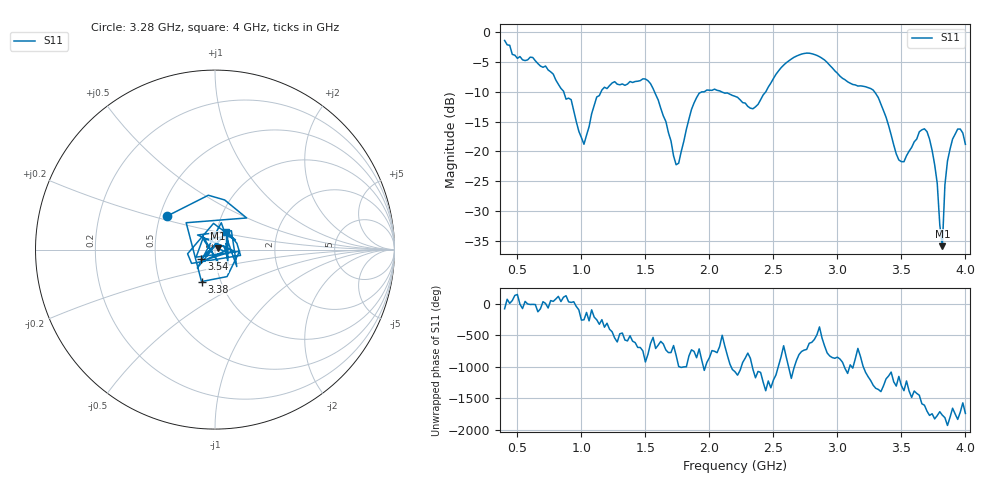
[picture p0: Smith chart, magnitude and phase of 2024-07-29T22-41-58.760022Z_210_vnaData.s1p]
!Created with skrf (http://scikit-rf.org).
# Hz S RI R 50.0
!freq ReS11 ImS11
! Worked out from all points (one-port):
!   181 points, 400 MHz to 4 GHz, reference 50 ohm
!   lowest |S11| = -35.9 dB at 3.82 GHz (marker M1), VSWR 1.03, Z = 51.4 + j0.792 ohm
!   |S11| at or under -10 dB: 1.571 GHz to 1.961 GHz (390 MHz wide, 22.1 % of centre); 2.094 GHz to 2.441 GHz (347 MHz wide, 15.3 % of centre); 3.289 GHz to end of sweep (the widest 3 of 4)
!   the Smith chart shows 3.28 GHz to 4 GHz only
!   S11 on the Smith chart (normalised r, x): 3.28 GHz: 0.54, +0.23; 3.38 GHz: 0.81, -0.30; 3.54 GHz: 0.86, -0.09; 4 GHz: 1.11, +0.22
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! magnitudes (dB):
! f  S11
! 400 MHz  -1.4
! 860 MHz  -9.9
! 920 MHz  -11.3
! 1.02 GHz  -18.8
! 1.12 GHz  -10.9
! 1.3 GHz  -8.8
! 1.54 GHz  -8.6
! 1.76 GHz  -22.0
! 1.86 GHz  -13.0
! 1.92 GHz  -10.3
! 2.2 GHz  -10.8
! 2.34 GHz  -12.9
! 2.66 GHz  -4.2
! 2.84 GHz  -3.9
! 3.1 GHz  -8.6
! 3.28 GHz  -9.7
! 3.38 GHz  -14.3
! 3.48 GHz  -21.5
! 3.54 GHz  -20.7
! 3.56 GHz  -20.0
! 3.7 GHz  -16.7
! 3.78 GHz  -25.4
! 3.8 GHz  -32.3
! 3.82 GHz  -35.9
! 3.84 GHz  -25.6
! 3.88 GHz  -19.6
! 3.94 GHz  -16.3
! 4 GHz  -18.8
